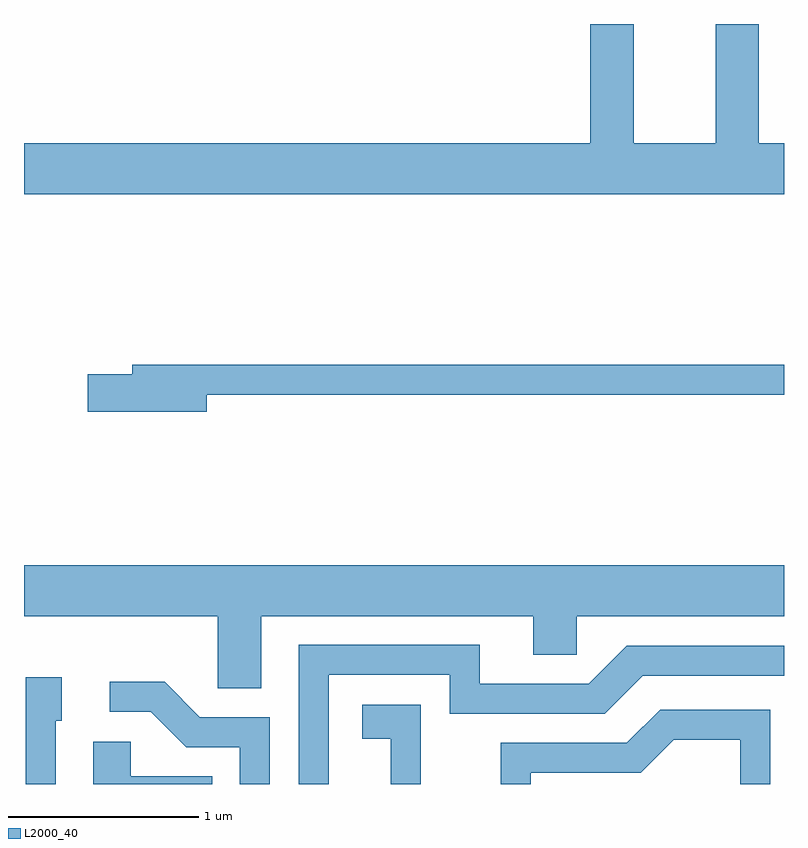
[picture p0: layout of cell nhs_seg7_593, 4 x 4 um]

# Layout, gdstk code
import gdstk
lib = gdstk.Library(unit=1e-6, precision=1e-09)
def P(c, l, *ps):  # polygons
    for p in ps: c.add(gdstk.Polygon(p, *l))
L2000_40 = (2000, 40)

nhs_seg7_593 = lib.new_cell('nhs_seg7_593')
P(nhs_seg7_593, L2000_40, [(205.611,1785.624),(205.479,1785.624),(205.479,1786.252),(205.251,1786.252),(205.251,1785.624),(204.819,1785.624),(204.819,1786.252),(204.591,1786.252),(204.591,1785.624),(201.611,1785.624),(201.611,1785.356),(205.611,1785.356)],
  [(202.574,1784.301),(205.611,1784.301),(205.611,1784.459),(202.181,1784.459),(202.181,1784.409),(201.946,1784.409),(201.946,1784.211),(202.574,1784.211)],
  [(202.859,1783.136),(204.291,1783.136),(204.291,1782.931),(204.519,1782.931),(204.519,1783.136),(205.611,1783.136),(205.611,1783.404),(201.611,1783.404),(201.611,1783.136),(202.631,1783.136),(202.631,1782.756),(202.859,1782.756)],
  [(203.214,1782.826),(203.851,1782.826),(203.851,1782.621),(204.667,1782.621),(204.867,1782.821),(205.611,1782.821),(205.611,1782.979),(204.784,1782.979),(204.584,1782.779),(204.009,1782.779),(204.009,1782.984),(203.056,1782.984),(203.056,1782.252),(203.214,1782.252)],
  [(201.779,1782.586),(201.809,1782.586),(201.809,1782.814),(201.621,1782.814),(201.621,1782.252),(201.779,1782.252)],
  [(202.904,1782.604),(202.537,1782.604),(202.352,1782.789),(202.063,1782.789),(202.063,1782.631),(202.279,1782.631),(202.464,1782.446),(202.746,1782.446),(202.746,1782.252),(202.904,1782.252)],
  [(203.699,1782.669),(203.391,1782.669),(203.391,1782.491),(203.541,1782.491),(203.541,1782.252),(203.699,1782.252)],
  [(204.279,1782.311),(204.857,1782.311),(205.032,1782.486),(205.381,1782.486),(205.381,1782.252),(205.539,1782.252),(205.539,1782.644),(204.959,1782.644),(204.784,1782.469),(204.121,1782.469),(204.121,1782.252),(204.279,1782.252)],
  [(202.603,1782.294),(202.174,1782.294),(202.174,1782.474),(201.976,1782.474),(201.976,1782.252),(202.603,1782.252)])

lib.write_gds('nhs_seg7_593.gds')
